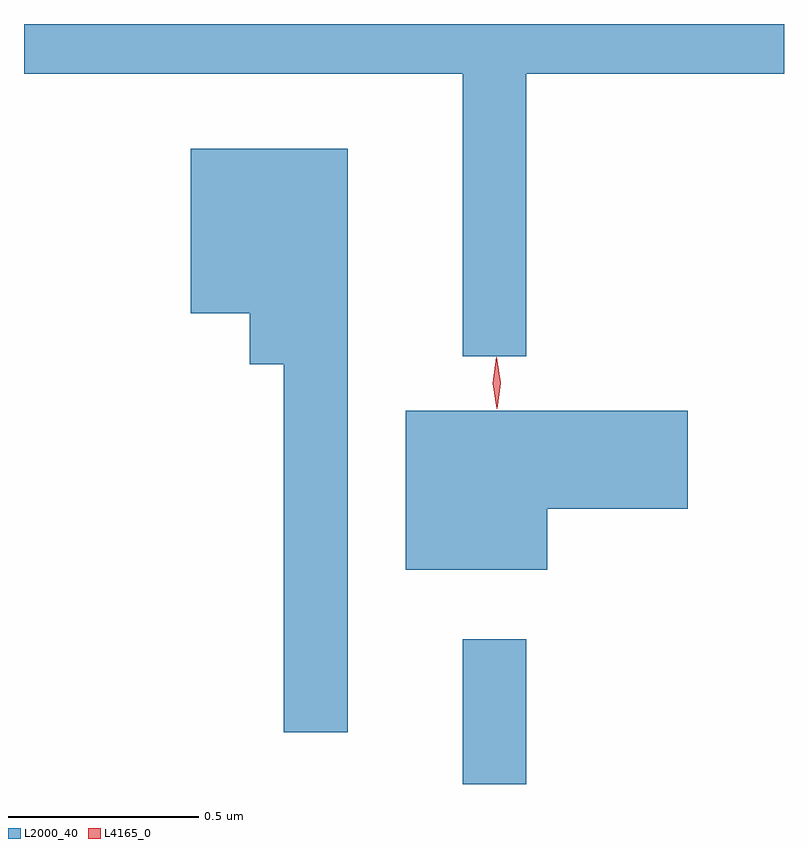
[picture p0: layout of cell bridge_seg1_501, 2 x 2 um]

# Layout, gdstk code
import gdstk
lib = gdstk.Library(unit=1e-6, precision=1e-09)
def R(c, l, rs):  # rectangles x0, y0, x1, y1
    for r in rs: c.add(gdstk.rectangle(r[:2], r[2:], *l))
def P(c, l, *ps):  # polygons
    for p in ps: c.add(gdstk.Polygon(p, *l))
L2000_40 = (2000, 40)
L4165_0 = (4165, 0)

bridge_seg1_501 = lib.new_cell('bridge_seg1_501')
R(bridge_seg1_501, L2000_40, [(618.571,899.927,618.739,900.308)])
P(bridge_seg1_501, L2000_40, [(618.739,901.796),(619.417,901.796),(619.417,901.927),(617.417,901.927),(617.417,901.796),(618.571,901.796),(618.571,901.053),(618.739,901.053)],
  [(618.269,901.599),(617.856,901.599),(617.856,901.166),(618.011,901.166),(618.011,901.031),(618.101,901.031),(618.101,900.063),(618.269,900.063)],
  [(618.794,900.651),(619.164,900.651),(619.164,900.909),(618.421,900.909),(618.421,900.491),(618.794,900.491)])
P(bridge_seg1_501, L4165_0, [(618.661,900.914),(618.651,900.982),(618.66,901.05),(618.661,901.05),(618.661,901.05),(618.671,900.982),(618.662,900.914),(618.662,900.914)],
  [(618.662,900.92),(618.662,900.921),(618.652,900.984),(618.66,901.046),(618.661,901.047),(618.661,901.046),(618.671,900.984),(618.662,900.921)])

lib.write_gds('bridge_seg1_501.gds')
